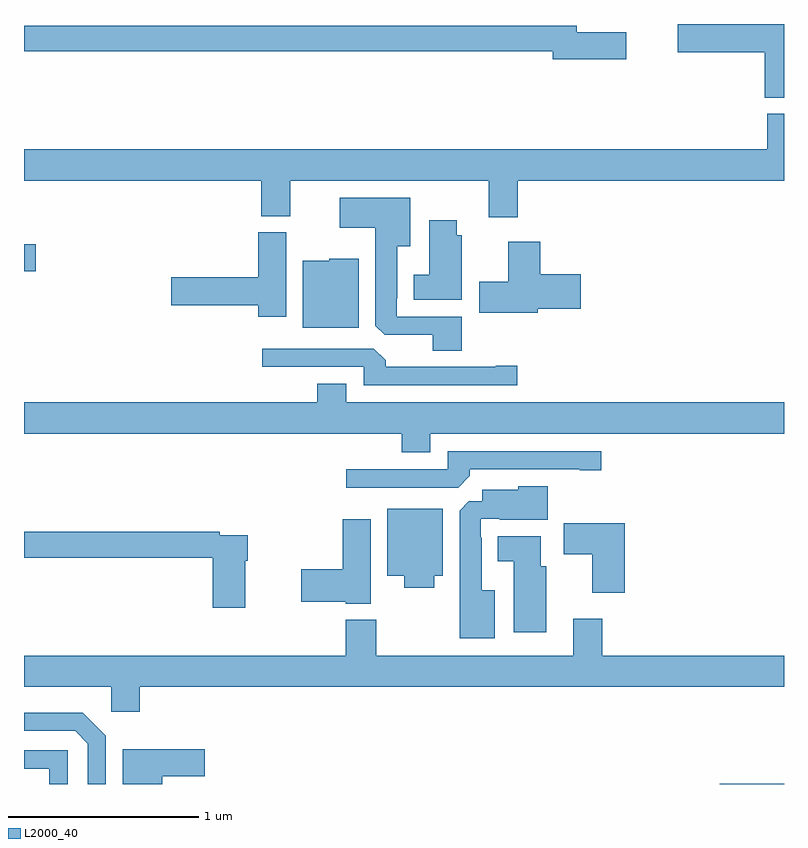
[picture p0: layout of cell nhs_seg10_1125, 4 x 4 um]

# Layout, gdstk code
import gdstk
lib = gdstk.Library(unit=1e-6, precision=1e-09)
def R(c, l, rs):  # rectangles x0, y0, x1, y1
    for r in rs: c.add(gdstk.rectangle(r[:2], r[2:], *l))
def P(c, l, *ps):  # polygons
    for p in ps: c.add(gdstk.Polygon(p, *l))
L2000_40 = (2000, 40)

nhs_seg10_1125 = lib.new_cell('nhs_seg10_1125')
R(nhs_seg10_1125, L2000_40, [(172.662,1270.5,173,1270.502), (169,1273.199,169.063,1273.341)])
P(nhs_seg10_1125, L2000_40, [(173,1274.5),(172.898,1274.5),(172.898,1274.498),(172.44,1274.498),(172.44,1274.351),(172.898,1274.351),(172.898,1274.113),(173,1274.113)],
  [(172.171,1274.456),(171.91,1274.456),(171.91,1274.492),(169,1274.492),(169,1274.356),(171.782,1274.356),(171.782,1274.314),(172.171,1274.314)],
  [(171.599,1273.676),(173,1273.676),(173,1274.028),(172.913,1274.028),(172.913,1273.84),(169,1273.84),(169,1273.676),(170.249,1273.676),(170.249,1273.489),(170.401,1273.489),(170.401,1273.676),(171.446,1273.676),(171.446,1273.482),(171.599,1273.482)],
  [(171.305,1272.96),(170.961,1272.96),(170.961,1273.057),(170.965,1273.057),(170.965,1273.331),(171.034,1273.331),(171.034,1273.585),(170.661,1273.585),(170.661,1273.427),(170.849,1273.427),(170.849,1272.913),(170.898,1272.864),(171.152,1272.864),(171.152,1272.781),(171.305,1272.781)],
  [(171.304,1273.389),(171.277,1273.389),(171.277,1273.468),(171.134,1273.468),(171.134,1273.18),(171.05,1273.18),(171.05,1273.049),(171.304,1273.049)],
  [(170.38,1273.404),(170.234,1273.404),(170.234,1273.166),(169.776,1273.166),(169.776,1273.019),(170.234,1273.019),(170.234,1272.96),(170.38,1272.96)],
  [(171.703,1273.001),(171.931,1273.001),(171.931,1273.184),(171.716,1273.184),(171.716,1273.354),(171.548,1273.354),(171.548,1273.143),(171.396,1273.143),(171.396,1272.98),(171.703,1272.98)],
  [(170.761,1273.264),(170.607,1273.264),(170.607,1273.255),(170.468,1273.255),(170.468,1272.902),(170.761,1272.902)],
  [(171.595,1272.701),(171.482,1272.701),(171.482,1272.696),(170.903,1272.696),(170.903,1272.73),(170.841,1272.792),(170.253,1272.792),(170.253,1272.696),(170.787,1272.696),(170.787,1272.6),(171.595,1272.6)],
  [(171.139,1272.344),(173,1272.344),(173,1272.508),(170.695,1272.508),(170.695,1272.607),(170.543,1272.607),(170.543,1272.508),(169,1272.508),(169,1272.344),(170.987,1272.344),(170.987,1272.245),(171.139,1272.245)],
  [(171.347,1272.122),(171.347,1272.156),(171.926,1272.156),(171.926,1272.151),(172.039,1272.151),(172.039,1272.252),(171.231,1272.252),(171.231,1272.156),(170.697,1272.156),(170.697,1272.06),(171.285,1272.06)],
  [(171.478,1271.521),(171.409,1271.521),(171.409,1271.795),(171.405,1271.795),(171.405,1271.895),(171.505,1271.895),(171.505,1271.891),(171.757,1271.891),(171.757,1272.067),(171.6,1272.067),(171.6,1272.049),(171.413,1272.049),(171.413,1271.988),(171.342,1271.988),(171.293,1271.939),(171.293,1271.267),(171.478,1271.267)],
  [(171.16,1271.597),(171.205,1271.597),(171.205,1271.95),(170.912,1271.95),(170.912,1271.597),(171.002,1271.597),(171.002,1271.534),(171.16,1271.534)],
  [(170.824,1271.893),(170.678,1271.893),(170.678,1271.63),(170.46,1271.63),(170.46,1271.459),(170.694,1271.459),(170.694,1271.45),(170.824,1271.45)],
  [(172.162,1271.872),(171.84,1271.872),(171.84,1271.71),(171.992,1271.71),(171.992,1271.507),(172.162,1271.507)],
  [(170.164,1271.675),(170.177,1271.675),(170.177,1271.808),(170.03,1271.808),(170.03,1271.828),(169,1271.828),(169,1271.692),(169.994,1271.692),(169.994,1271.427),(170.164,1271.427)],
  [(171.748,1271.646),(171.721,1271.646),(171.721,1271.803),(171.494,1271.803),(171.494,1271.672),(171.578,1271.672),(171.578,1271.298),(171.748,1271.298)],
  [(169.61,1271.012),(173,1271.012),(173,1271.176),(172.043,1271.176),(172.043,1271.371),(171.89,1271.371),(171.89,1271.176),(170.853,1271.176),(170.853,1271.365),(170.693,1271.365),(170.693,1271.176),(169,1271.176),(169,1271.012),(169.458,1271.012),(169.458,1270.881),(169.61,1270.881)],
  [(169.431,1270.755),(169.31,1270.876),(169,1270.876),(169,1270.779),(169.269,1270.779),(169.335,1270.713),(169.335,1270.5),(169.431,1270.5)],
  [(169.727,1270.541),(169.951,1270.541),(169.951,1270.683),(169.52,1270.683),(169.52,1270.5),(169.727,1270.5)],
  [(169.23,1270.677),(169,1270.677),(169,1270.581),(169.134,1270.581),(169.134,1270.5),(169.23,1270.5)])

lib.write_gds('nhs_seg10_1125.gds')
